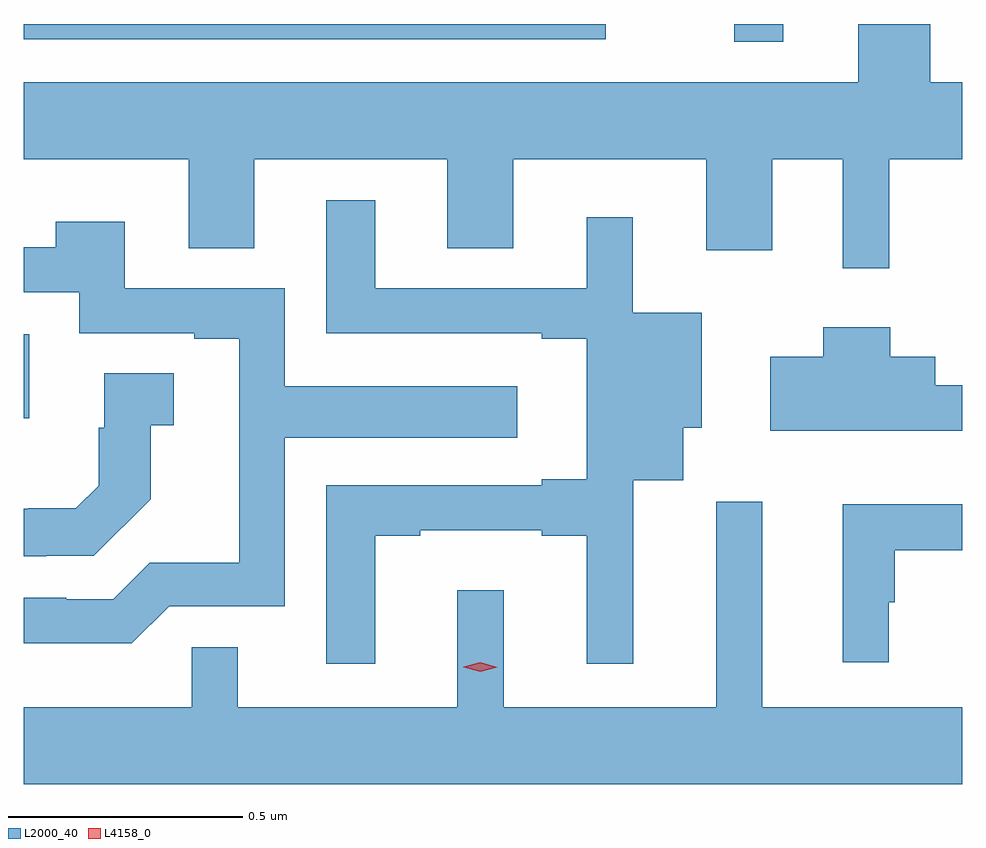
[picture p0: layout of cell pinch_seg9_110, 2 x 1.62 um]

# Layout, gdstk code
import gdstk
lib = gdstk.Library(unit=1e-6, precision=1e-09)
def R(c, l, rs):  # rectangles x0, y0, x1, y1
    for r in rs: c.add(gdstk.rectangle(r[:2], r[2:], *l))
def P(c, l, *ps):  # polygons
    for p in ps: c.add(gdstk.Polygon(p, *l))
L2000_40 = (2000, 40)
L4158_0 = (4158, 0)

pinch_seg9_110 = lib.new_cell('pinch_seg9_110')
R(pinch_seg9_110, L2000_40, [(1065.86,1186.544,1065.871,1186.723), (1067.374,1187.346,1067.479,1187.384), (1065.86,1187.352,1067.1,1187.384)])
P(pinch_seg9_110, L2000_40, [(1067.705,1187.096),(1067.86,1187.096),(1067.86,1187.26),(1067.792,1187.26),(1067.792,1187.384),(1067.639,1187.384),(1067.639,1187.26),(1065.86,1187.26),(1065.86,1187.096),(1066.211,1187.096),(1066.211,1186.906),(1066.351,1186.906),(1066.351,1187.096),(1066.763,1187.096),(1066.763,1186.906),(1066.903,1186.906),(1066.903,1187.096),(1067.315,1187.096),(1067.315,1186.902),(1067.455,1186.902),(1067.455,1187.096),(1067.606,1187.096),(1067.606,1186.863),(1067.705,1186.863)],
  [(1066.609,1186.293),(1066.705,1186.293),(1066.705,1186.305),(1066.964,1186.305),(1066.964,1186.293),(1067.06,1186.293),(1067.06,1186.02),(1067.159,1186.02),(1067.159,1186.412),(1067.266,1186.412),(1067.266,1186.523),(1067.305,1186.523),(1067.305,1186.768),(1067.158,1186.768),(1067.158,1186.972),(1067.06,1186.972),(1067.06,1186.821),(1066.609,1186.821),(1066.609,1187.008),(1066.505,1187.008),(1066.505,1186.725),(1066.964,1186.725),(1066.964,1186.713),(1067.06,1186.713),(1067.06,1186.414),(1066.964,1186.414),(1066.964,1186.401),(1066.505,1186.401),(1066.505,1186.02),(1066.609,1186.02)],
  [(1066.17,1186.143),(1066.416,1186.143),(1066.416,1186.502),(1066.912,1186.502),(1066.912,1186.612),(1066.416,1186.612),(1066.416,1186.821),(1066.075,1186.821),(1066.075,1186.963),(1065.928,1186.963),(1065.928,1186.908),(1065.86,1186.908),(1065.86,1186.812),(1065.978,1186.812),(1065.978,1186.725),(1066.223,1186.725),(1066.223,1186.713),(1066.319,1186.713),(1066.319,1186.236),(1066.128,1186.236),(1066.05,1186.158),(1065.95,1186.158),(1065.95,1186.161),(1065.86,1186.161),(1065.86,1186.064),(1066.09,1186.064)],
  [(1067.86,1186.614),(1067.803,1186.614),(1067.803,1186.675),(1067.707,1186.675),(1067.707,1186.738),(1067.564,1186.738),(1067.564,1186.675),(1067.451,1186.675),(1067.451,1186.517),(1067.86,1186.517)],
  [(1065.908,1186.251),(1066.009,1186.251),(1066.13,1186.371),(1066.13,1186.529),(1066.18,1186.529),(1066.18,1186.64),(1066.031,1186.64),(1066.031,1186.523),(1066.02,1186.523),(1066.02,1186.4),(1065.971,1186.352),(1065.869,1186.352),(1065.869,1186.351),(1065.86,1186.351),(1065.86,1186.25),(1065.908,1186.25)],
  [(1066.784,1186.177),(1066.784,1185.928),(1066.316,1185.928),(1066.316,1186.055),(1066.218,1186.055),(1066.218,1185.928),(1065.86,1185.928),(1065.86,1185.764),(1067.86,1185.764),(1067.86,1185.928),(1067.434,1185.928),(1067.434,1186.366),(1067.336,1186.366),(1067.336,1185.928),(1066.883,1185.928),(1066.883,1186.177)],
  [(1067.704,1186.151),(1067.716,1186.151),(1067.716,1186.262),(1067.86,1186.262),(1067.86,1186.36),(1067.606,1186.36),(1067.606,1186.023),(1067.704,1186.023)])
P(pinch_seg9_110, L4158_0, [(1066.833,1186.003),(1066.798,1186.013),(1066.797,1186.013),(1066.798,1186.014),(1066.833,1186.023),(1066.869,1186.013),(1066.869,1186.013),(1066.869,1186.013)])

lib.write_gds('pinch_seg9_110.gds')
